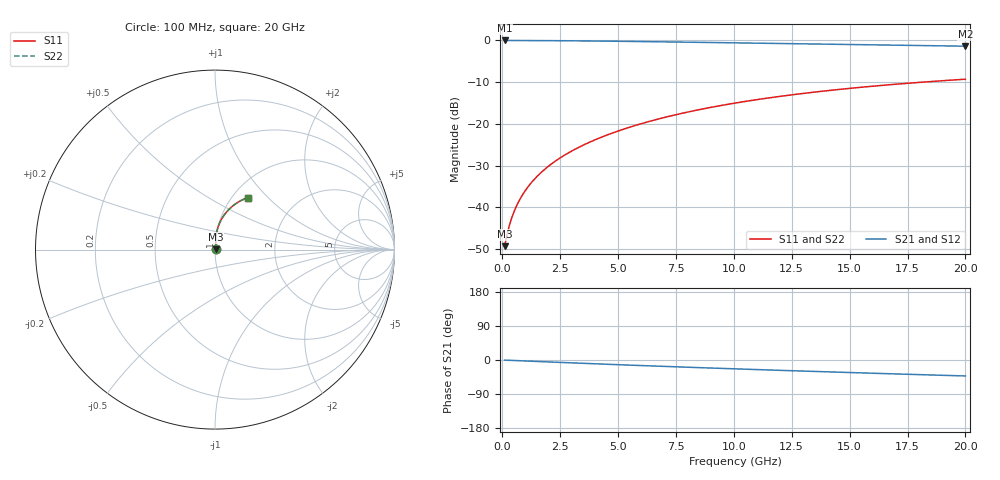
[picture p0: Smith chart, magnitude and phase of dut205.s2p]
! Touchstone file exported from HFSS 2024.1.0
!  File:  C:/UserFiles/LocalFiles/RDL_TSV_Batchsim/temp_RDL_top_205_1778687173.aedt
!  Generated:  11:48:32 PM May 13, 2026
!  Design:  RDL_top
!  Project:  temp_RDL_top_205_1778687173
!  Setup:  Setup1
!  Solution:  Sweep
! Variables:
!  dtsv = 10.80580581um
!  hbump = 3um
!  htsv = 95.86um
!  ldown = 100um
!  lrdl = 610.37um
!  p = 40
!  p1 = 50.13um
!  rhole = 1um
!  t = 450um
!  tdown = 3.915915916um
!  trdl = 3.18um
!  wdown = 15.38538539um
!  wrdl = 25.25um
# GHz S MA R 50.000000
! Terminal data exported
! Port[1] = Box2_T1
! Port[2] = Box2_T2
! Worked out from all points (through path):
!   200 points, 100 MHz to 20 GHz, reference 50 ohm
!   highest |S21| = -0.03 dB at 100 MHz (marker M1); lowest = -1.4 dB at 20 GHz (marker M2)
!   group delay of S21, straight-line fit = 5.8 ps
!   lowest |S11| = -49.3 dB at 100 MHz (marker M3), VSWR 1.01, Z = 50.3 + j0.178 ohm
!   |S11| at or under -10 dB: start of sweep to 18.17 GHz
!   |S22| runs from -49.3 to -9.3 dB; largest |S21 - S12| = 3.4e-15
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0.1  0.003433 31.1  0.997 -0.3  0.997 -0.3  0.003433 31.1
! Gamma 0 0 0 0
! Port Impedance 50 0 50 0
0.2  0.004643 48.1  0.9969 -0.5  0.9969 -0.5  0.004644 48.1
0.3  0.00601 57.0  0.9966 -0.8  0.9966 -0.8  0.00601 57.0
0.4  0.007398 62.5  0.9964 -1.1  0.9964 -1.1  0.007398 62.5
0.5  0.008794 66.4  0.9962 -1.3  0.9962 -1.3  0.008794 66.4
0.6  0.0102 69.4  0.996 -1.6  0.996 -1.6  0.0102 69.4
0.8  0.01306 73.7  0.9956 -2.1  0.9956 -2.1  0.01306 73.7
1.1  0.01746 77.7  0.995 -2.8  0.995 -2.8  0.01746 77.7
1.3  0.02045 79.5  0.9945 -3.3  0.9945 -3.3  0.02045 79.5
1.6  0.02501 81.4  0.9936 -4.1  0.9936 -4.1  0.02501 81.4
2.1  0.03279 83.4  0.9918 -5.4  0.9918 -5.4  0.03279 83.4
2.7  0.04242 84.7  0.9892 -6.9  0.9892 -6.9  0.04242 84.7
3.5  0.05573 85.5  0.9849 -8.8  0.9849 -8.8  0.05573 85.5
4.2  0.06783 85.6  0.9805 -10.5  0.9805 -10.5  0.06782 85.6
5  0.0821 85.2  0.9749 -12.4  0.9749 -12.4  0.08209 85.2
6.8  0.1155 83.2  0.961 -16.5  0.961 -16.5  0.1155 83.2
8.4  0.146 80.6  0.9477 -19.9  0.9477 -19.9  0.146 80.6
10.1  0.1783 77.4  0.9333 -23.5  0.9333 -23.5  0.1783 77.4
11.7  0.2081 74.1  0.9197 -26.7  0.9197 -26.7  0.2081 74.1
13.4  0.2387 70.7  0.9054 -30.0  0.9054 -30.0  0.2387 70.7
16.7  0.2938 64.0  0.8778 -36.2  0.8778 -36.2  0.2938 64.1
20  0.3425 57.7  0.8509 -42.1  0.8509 -42.1  0.3426 57.7
